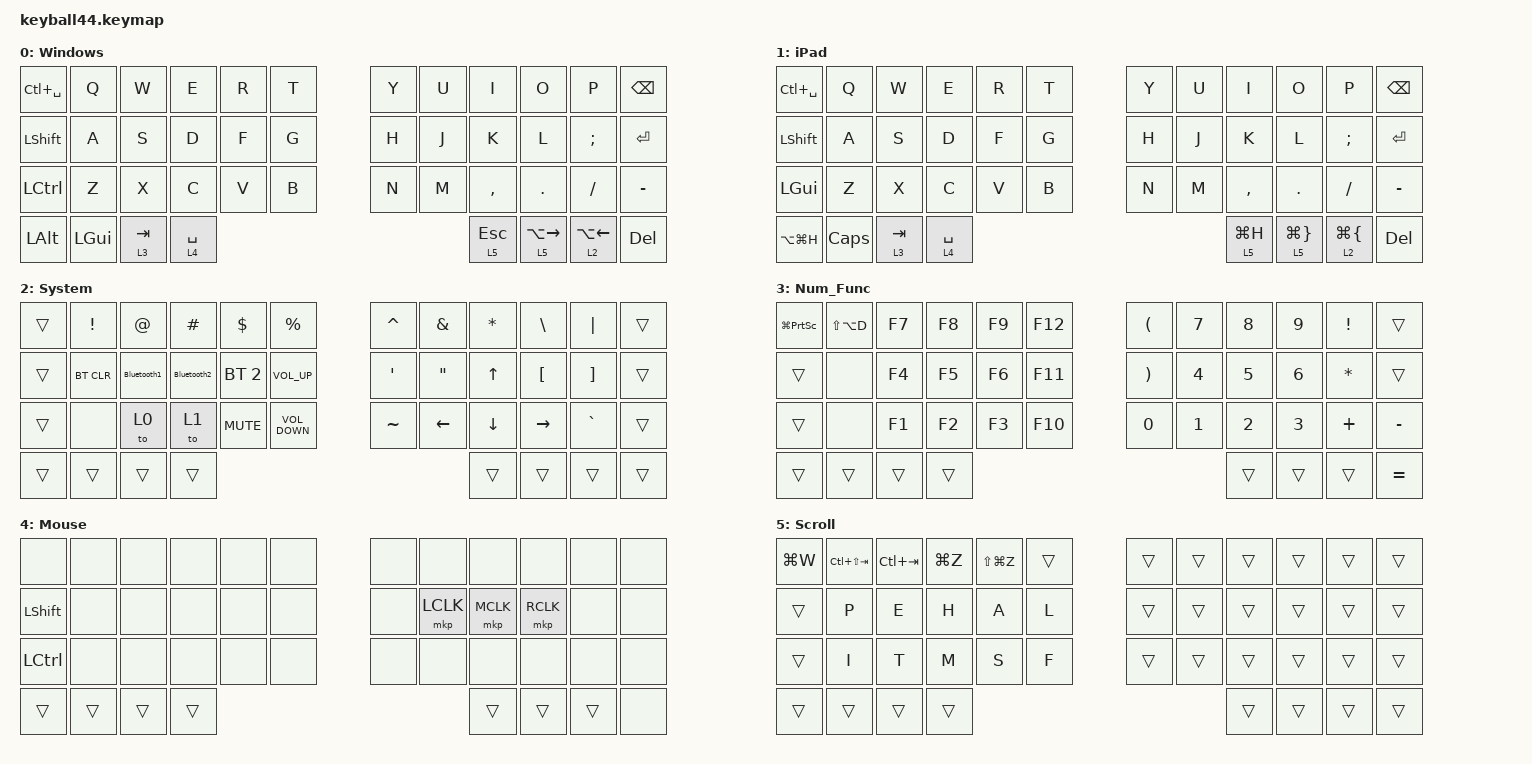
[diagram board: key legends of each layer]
#define DEFAULT 0
#define NUM     1
#define SYM     2
#define FUN     3
#define MOUSE   4
#define SCROLL  5
#define SNIPE   6

#include <behaviors/mouse_keys.dtsi>
#include <dt-bindings/zmk/mouse.h>
#include <behaviors.dtsi>
#include <dt-bindings/zmk/bt.h>
#include <dt-bindings/zmk/keys.h>
#include <dt-bindings/zmk/pointing.h>

&lt {
    tapping-term-ms = <240>;
    flavor = "balanced";
    quick-tap-ms = <150>;
};

&mt {
    tapping-term-ms = <200>;
    flavor = "tap-preferred";
    quick-tap-ms = <150>;
};

&caps_word { continue-list = <UNDERSCORE MINUS>; };

/ {
    // custom shift using mod-morph 

    behaviors {
        cmqus: comma_question {
            compatible = "zmk,behavior-mod-morph";
            label = "COMMA_QUESTION";
            #binding-cells = <0>;
            bindings = <&kp COMMA>, <&kp QUESTION>;

            mods = <(MOD_LSFT|MOD_RSFT)>;
        };

        dtsmi: dot_semi {
            compatible = "zmk,behavior-mod-morph";
            label = "DOT_SEMI";
            #binding-cells = <0>;
            bindings = <&kp DOT>, <&kp SEMI>;

            mods = <(MOD_LSFT|MOD_RSFT)>;
        };
    };

    macros {
        Bluetooth1: Bluetooth1 {
            compatible = "zmk,behavior-macro";
            #binding-cells = <0>;
            bindings = <&bt BT_SEL 0 &to 0>;
            label = "BLUETOOTH1";
        };

        Bluetooth2: Bluetooth2 {
            compatible = "zmk,behavior-macro";
            #binding-cells = <0>;
            bindings = <&bt BT_SEL 1 &to 1>;
            label = "BLUETOOTH2";
        };
    };

    keymap {
        compatible = "zmk,keymap";

        Windows {
            label = "Windows";
            bindings = <
&kp LC(SPACE)     &kp Q         &kp W      &kp E        &kp R         &kp T                             &kp Y                 &kp U  &kp I      &kp O    &kp P      &kp BACKSPACE
&kp LEFT_SHIFT    &kp A         &kp S      &kp D        &kp F         &kp G                             &kp H                 &kp J  &kp K      &kp L    &kp SEMI   &kp ENTER
&kp LEFT_CONTROL  &kp Z         &kp X      &kp C        &kp V         &kp B                             &kp N                 &kp M  &kp COMMA  &kp DOT  &kp SLASH  &kp MINUS
&kp LEFT_ALT      &kp LEFT_GUI  &lt 3 TAB  &lt 4 SPACE  &lt 5 ESCAPE             &lt 5 LA(RIGHT_ARROW)  &lt 2 LA(LEFT_ARROW)                                        &kp DELETE
            >;
        };

        iPad {
            label = "iPad";
            bindings = <
&kp LC(SPACE)   &kp Q         &kp W      &kp E        &kp R        &kp T                             &kp Y                 &kp U  &kp I      &kp O       &kp P          &kp BACKSPACE
&kp LEFT_SHIFT  &kp A         &kp S      &kp D        &kp F        &kp G                             &kp H                 &kp J  &kp K      &kp L       &kp SEMICOLON  &kp ENTER
&kp LEFT_GUI    &kp Z         &kp X      &kp C        &kp V        &kp B                             &kp N                 &kp M  &kp COMMA  &kp PERIOD  &kp SLASH      &kp MINUS
&kp LA(LG(H))   &kp CAPSLOCK  &lt 3 TAB  &lt 4 SPACE  &lt 5 LG(H)             &lt 5 LG(RIGHT_BRACE)  &lt 2 LG(LEFT_BRACE)                                               &kp DEL
            >;
        };

        System {
            label = "System";
            bindings = <
&trans  &kp EXCLAMATION  &kp AT_SIGN  &kp HASH     &kp DOLLAR    &kp PERCENT                    &kp CARET  &kp AMPERSAND      &kp ASTERISK    &kp BACKSLASH     &kp PIPE           &trans
&trans  &bt BT_CLR       &Bluetooth1  &Bluetooth2  &bt BT_SEL 2  &kp C_VOLUME_UP                &kp APOS   &kp DOUBLE_QUOTES  &kp UP_ARROW    &kp LEFT_BRACKET  &kp RIGHT_BRACKET  &trans
&trans  &none            &to 0        &to 1        &kp C_MUTE    &kp C_VOLUME_DOWN              &kp TILDE  &kp LEFT_ARROW     &kp DOWN_ARROW  &kp RIGHT_ARROW   &kp GRAVE          &trans
&trans  &trans           &trans       &trans       &trans                               &trans  &trans                                                                             &trans
            >;
        };

        Num_Func {
            label = "Num_Func";
            bindings = <
&kp LG(PRINTSCREEN)  &kp LS(LA(D))  &kp F7  &kp F8  &kp F9  &kp F12              &kp LEFT_PARENTHESIS   &kp NUMBER_7  &kp NUMBER_8  &kp NUMBER_9  &kp EXCL  &trans
&trans               &none          &kp F4  &kp F5  &kp F6  &kp F11              &kp RIGHT_PARENTHESIS  &kp NUMBER_4  &kp NUMBER_5  &kp NUMBER_6  &kp STAR  &trans
&trans               &none          &kp F1  &kp F2  &kp F3  &kp F10              &kp NUMBER_0           &kp NUMBER_1  &kp NUMBER_2  &kp NUMBER_3  &kp PLUS  &kp MINUS
&trans               &trans         &trans  &trans  &trans               &trans  &trans                                                                     &kp EQUAL
            >;
        };

        Mouse {
            label = "Mouse";
            bindings = <
&none             &none   &none   &none   &none   &none              &none   &none      &none      &none      &none  &none
&kp LEFT_SHIFT    &none   &none   &none   &none   &none              &none   &mkp LCLK  &mkp MCLK  &mkp RCLK  &none  &none
&kp LEFT_CONTROL  &none   &none   &none   &none   &none              &none   &none      &none      &none      &none  &none
&trans            &trans  &trans  &trans  &trans             &trans  &trans                                          &none
            >;
        };

        Scroll {
            label = "Scroll";
            bindings = <
&kp LG(W)  &kp LC(LS(TAB))  &kp LC(TAB)  &kp LG(Z)  &kp LS(LG(Z))  &trans              &trans  &trans  &trans  &trans  &trans  &trans
&trans     &kp P            &kp E        &kp H      &kp A          &kp L               &trans  &trans  &trans  &trans  &trans  &trans
&trans     &kp I            &kp T        &kp M      &kp S          &kp F               &trans  &trans  &trans  &trans  &trans  &trans
&trans     &trans           &trans       &trans     &trans                     &trans  &trans                                  &trans
            >;
        };
    };
};
